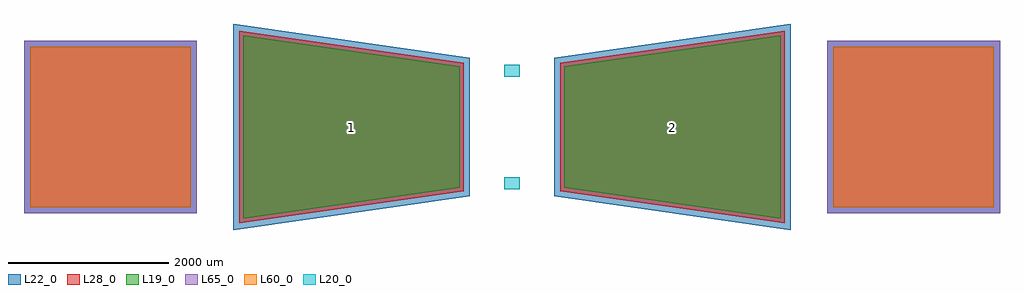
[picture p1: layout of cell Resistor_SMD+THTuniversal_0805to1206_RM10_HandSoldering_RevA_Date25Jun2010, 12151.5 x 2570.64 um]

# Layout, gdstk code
import gdstk
lib = gdstk.Library(unit=1e-6, precision=1e-09)
def R(c, l, rs):  # rectangles x0, y0, x1, y1
    for r in rs: c.add(gdstk.rectangle(r[:2], r[2:], *l))
def P(c, l, *ps):  # polygons
    for p in ps: c.add(gdstk.Polygon(p, *l))
L19_0 = (19, 0)
L20_0 = (20, 0)
L22_0 = (22, 0)
L28_0 = (28, 0)
L60_0 = (60, 0)
L65_0 = (65, 0)

resistor_smd_thtuniversa = lib.new_cell('Resistor_SMD+THTuniversal_0805to1206_RM10_HandSoldering_RevA_Date25Jun2010')
P(resistor_smd_thtuniversa, L19_0, [(649.44,-756.719),(649.44,756.719),(3348.52,1141.252),(3348.52,-1141.252)],
  [(-3348.52,-1141.252),(-3348.52,1141.252),(-649.44,756.719),(-649.44,-756.719)])
R(resistor_smd_thtuniversa, L22_0, [(-6075.75,-1074.49,-3926.77,1074.49), (3926.77,-1074.49,6075.75,1074.49)])
P(resistor_smd_thtuniversa, L22_0, [(524.44,-865.172),(524.44,865.172),(3473.52,1285.322),(3473.52,-1285.322)],
  [(-3473.52,-1285.322),(-3473.52,1285.322),(-524.44,865.172),(-524.44,-865.172)])
R(resistor_smd_thtuniversa, L28_0, [(-6000.75,-999.49,-4001.77,999.49), (4001.77,-999.49,6000.75,999.49)])
P(resistor_smd_thtuniversa, L28_0, [(599.44,-800.1),(599.44,800.1),(3398.52,1198.88),(3398.52,-1198.88)],
  [(-3398.52,-1198.88),(-3398.52,1198.88),(-599.44,800.1),(-599.44,-800.1)])
R(resistor_smd_thtuniversa, L60_0, [(-6000.75,-999.49,-4001.77,999.49), (4001.77,-999.49,6000.75,999.49)])
R(resistor_smd_thtuniversa, L65_0, [(-6075.75,-1074.49,-3926.77,1074.49), (3926.77,-1074.49,6075.75,1074.49)])
resistor_smd_thtuniversa.add(gdstk.FlexPath([(0,701.04),(99.06,701.04)], 149.998, ends="flush", simple_path=True, layer=20, datatype=0))  # L20_0
resistor_smd_thtuniversa.add(gdstk.FlexPath([(0,701.04),(-99.06,701.04)], 149.998, ends="flush", simple_path=True, layer=20, datatype=0))  # L20_0
resistor_smd_thtuniversa.add(gdstk.FlexPath([(0,-701.04),(-99.06,-701.04)], 149.998, ends="flush", simple_path=True, layer=20, datatype=0))  # L20_0
resistor_smd_thtuniversa.add(gdstk.FlexPath([(99.06,-701.04),(0,-701.04)], 149.998, ends="flush", simple_path=True, layer=20, datatype=0))  # L20_0
resistor_smd_thtuniversa.add(gdstk.FlexPath([(0,-701.04),(99.06,-701.04)], 149.998, ends="flush", simple_path=True, layer=20, datatype=0))  # L20_0
resistor_smd_thtuniversa.add(gdstk.Label('2', (1998.98,0), layer=28, texttype=0))
resistor_smd_thtuniversa.add(gdstk.Label('1', (-1998.98,0), layer=28, texttype=0))
resistor_smd_thtuniversa.add(gdstk.Label('type', (-398.78,-4201.16), layer=9, texttype=0))
resistor_smd_thtuniversa.add(gdstk.Label('devicename', (99.06,3098.8), layer=9, texttype=0))

lib.write_gds('Resistor_SMD_THTuniversal_0805to1206_RM10_HandSoldering_RevA_Date25Jun2010.gds')
